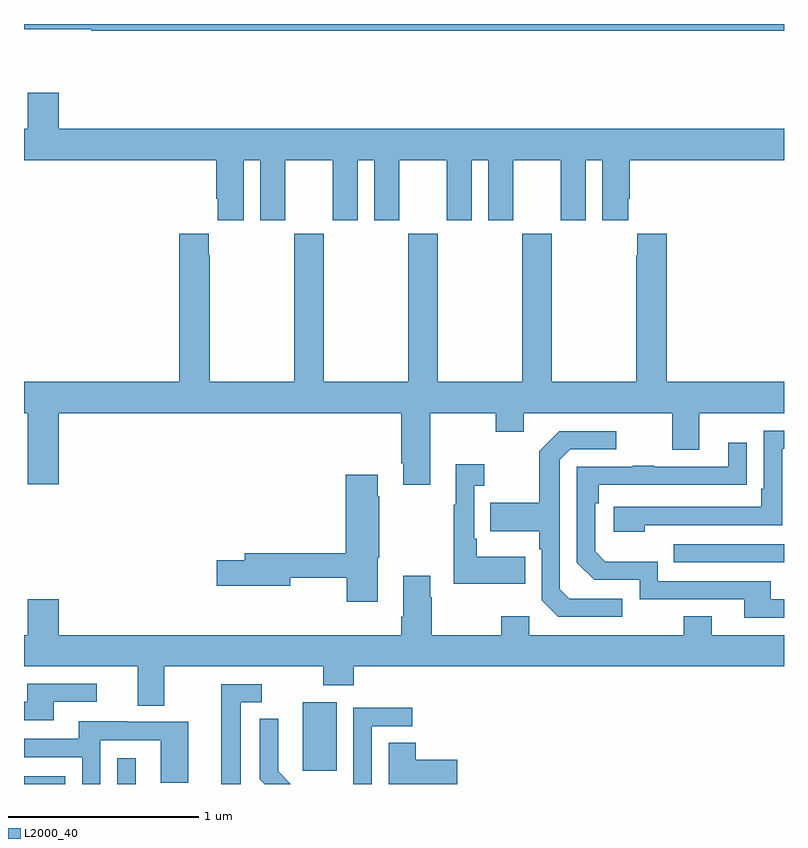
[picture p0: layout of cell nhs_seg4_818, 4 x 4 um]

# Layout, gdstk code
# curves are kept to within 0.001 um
import gdstk
lib = gdstk.Library(unit=1e-6, precision=1e-09)
def R(c, l, rs):  # rectangles x0, y0, x1, y1
    for r in rs: c.add(gdstk.rectangle(r[:2], r[2:], *l))
def P(c, l, *ps):  # polygons
    for p in ps: c.add(gdstk.Polygon(p, *l))
L2000_40 = (2000, 40)

nhs_seg4_818 = lib.new_cell('nhs_seg4_818')
R(nhs_seg4_818, L2000_40, [(153,762.9,153.216,762.942), (153.492,762.9,153.589,763.036), (154.466,762.969,154.645,763.33), (156.421,764.067,157,764.163)])
P(nhs_seg4_818, L2000_40, [(157,766.9),(153,766.9),(153,766.872),(153.355,766.872),(153.355,766.864),(157,766.864)],
  [(153.184,766.537),(153.02,766.537),(153.02,766.348),(153,766.348),(153,766.184),(154.013,766.184),(154.013,765.979),(154.019,765.979),(154.019,765.867),(154.156,765.867),(154.156,766.184),(154.244,766.184),(154.244,765.867),(154.375,765.867),(154.375,766.184),(154.625,766.184),(154.625,765.867),(154.756,765.867),(154.756,766.184),(154.844,766.184),(154.844,765.867),(154.975,765.867),(154.975,766.184),(155.225,766.184),(155.225,765.867),(155.356,765.867),(155.356,766.184),(155.444,766.184),(155.444,765.867),(155.575,765.867),(155.575,766.184),(155.825,766.184),(155.825,765.867),(155.956,765.867),(155.956,766.184),(156.044,766.184),(156.044,765.867),(156.181,765.867),(156.181,765.979),(156.188,765.979),(156.188,766.184),(157,766.184),(157,766.348),(153.184,766.348)],
  [(155.137,764.852),(155.482,764.852),(155.482,764.753),(155.629,764.753),(155.629,764.852),(156.413,764.852),(156.413,764.658),(156.553,764.658),(156.553,764.852),(157,764.852),(157,765.016),(156.383,765.016),(156.383,765.796),(156.227,765.796),(156.227,765.683),(156.223,765.683),(156.223,765.016),(155.778,765.016),(155.778,765.796),(155.623,765.796),(155.623,765.016),(155.178,765.016),(155.178,765.796),(155.023,765.796),(155.023,765.016),(154.578,765.016),(154.578,765.796),(154.423,765.796),(154.423,765.016),(153.978,765.016),(153.978,765.683),(153.973,765.683),(153.973,765.796),(153.818,765.796),(153.818,765.016),(153,765.016),(153,764.852),(153.02,764.852),(153.02,764.478),(153.184,764.478),(153.184,764.852),(154.985,764.852),(154.985,764.587),(154.997,764.587),(154.997,764.475),(155.137,764.475)],
  [(156.266,764.262),(156.99,764.262),(156.99,764.664),(157,764.664),(157,764.76),(156.894,764.76),(156.894,764.455),(156.881,764.455),(156.881,764.358),(156.105,764.358),(156.105,764.228),(156.266,764.228)],
  [(156.148,763.875),(155.871,763.875),(155.82,763.926),(155.82,764.607),(155.874,764.661),(156.118,764.661),(156.118,764.757),(155.817,764.757),(155.712,764.651),(155.712,764.379),(155.455,764.379),(155.455,764.231),(155.712,764.231),(155.712,764.135),(155.724,764.135),(155.724,763.866),(155.811,763.779),(156.148,763.779)],
  [(157,763.872),(156.931,763.872),(156.931,763.968),(156.336,763.968),(156.336,764.071),(156.059,764.071),(156.006,764.124),(156.006,764.378),(156.026,764.378),(156.026,764.475),(156.803,764.476),(156.803,764.695),(156.707,764.695),(156.707,764.571),(156.317,764.571),(156.317,764.576),(156.205,764.576),(156.205,764.571),(155.91,764.571),(155.91,764.064),(156,763.974),(156.24,763.974),(156.24,763.872),(156.791,763.872),(156.791,763.776),(157,763.776)],
  [(155.639,764.095),(155.383,764.095),(155.383,764.191),(155.37,764.191),(155.37,764.471),(155.422,764.471),(155.422,764.584),(155.273,764.584),(155.273,764.371),(155.262,764.371),(155.262,763.955),(155.639,763.955)],
  [(154.861,764.091),(154.869,764.091),(154.869,764.414),(154.861,764.414),(154.861,764.527),(154.694,764.527),(154.694,764.114),(154.163,764.114),(154.163,764.078),(154.014,764.078),(154.014,763.943),(154.402,763.943),(154.402,763.986),(154.699,763.986),(154.699,763.86),(154.861,763.86)],
  [(157,763.684),(156.619,763.684),(156.619,763.783),(156.472,763.783),(156.472,763.684),(155.658,763.684),(155.658,763.783),(155.512,763.783),(155.512,763.684),(155.145,763.684),(155.145,763.883),(155.137,763.883),(155.137,763.996),(154.997,763.996),(154.997,763.78),(154.985,763.78),(154.985,763.684),(153.184,763.684),(153.184,763.873),(153.02,763.873),(153.02,763.684),(153,763.684),(153,763.52),(153.599,763.52),(153.599,763.312),(153.739,763.312),(153.739,763.52),(154.576,763.52),(154.576,763.421),(154.736,763.421),(154.736,763.52),(157,763.52)],
  [(153.157,763.332),(153.382,763.332),(153.382,763.428),(153.017,763.428),(153.017,763.332),(153,763.332),(153,763.236),(153.157,763.236)],
  [(154.141,763.329),(154.252,763.329),(154.252,763.425),(154.037,763.425),(154.037,762.9),(154.141,762.9)],
  [(154.83,763.203),(155.044,763.203),(155.044,763.302),(154.734,763.302),(154.734,762.9),(154.83,762.9)],
  [(154.337,762.968),(154.337,763.09),(154.338,763.09),(154.338,763.244),(154.242,763.244),(154.242,762.926),(154.268,762.9),(154.404,762.9)],
  [(153.402,763.131),(153.72,763.131),(153.72,762.907),(153.865,762.907),(153.865,763.227),(153.541,763.227),(153.541,763.231),(153.287,763.231),(153.287,763.137),(153,763.137),(153,763.041),(153.306,763.041),(153.306,762.9),(153.402,762.9)],
  [(155.281,763.028),(155.063,763.028),(155.063,763.118),(154.919,763.118),(154.919,762.9),(155.281,762.9)])

lib.write_gds('nhs_seg4_818.gds')
